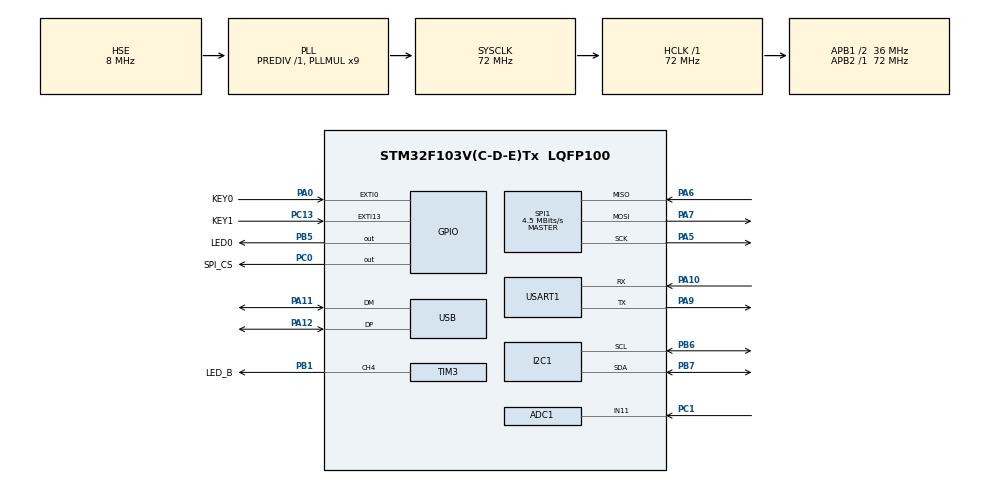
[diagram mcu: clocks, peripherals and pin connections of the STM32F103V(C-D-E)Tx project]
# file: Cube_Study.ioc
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ADC1.Channel-7\#ChannelRegularConversion=ADC_CHANNEL_11
ADC1.ContinuousConvMode=ENABLE
ADC1.NbrOfConversionFlag=1
ADC1.Rank-7\#ChannelRegularConversion=1
ADC1.SamplingTime-7\#ChannelRegularConversion=ADC_SAMPLETIME_1CYCLE_5
ADC1.master=1
Dma.ADC1.0.Direction=DMA_PERIPH_TO_MEMORY
Dma.ADC1.0.Instance=DMA1_Channel1
Dma.ADC1.0.MemDataAlignment=DMA_MDATAALIGN_HALFWORD
Dma.ADC1.0.MemInc=DMA_MINC_ENABLE
Dma.ADC1.0.Mode=DMA_CIRCULAR
Dma.ADC1.0.PeriphDataAlignment=DMA_PDATAALIGN_HALFWORD
Dma.ADC1.0.PeriphInc=DMA_PINC_DISABLE
Dma.ADC1.0.Priority=DMA_PRIORITY_LOW
Dma.Request0=ADC1
Dma.Request1=USART1_TX
Dma.USART1_TX.1.Direction=DMA_MEMORY_TO_PERIPH
Dma.USART1_TX.1.Instance=DMA1_Channel4
Dma.USART1_TX.1.MemDataAlignment=DMA_MDATAALIGN_BYTE
Dma.USART1_TX.1.MemInc=DMA_MINC_ENABLE
Dma.USART1_TX.1.Mode=DMA_NORMAL
Dma.USART1_TX.1.PeriphDataAlignment=DMA_PDATAALIGN_BYTE
Dma.USART1_TX.1.PeriphInc=DMA_PINC_DISABLE
Dma.USART1_TX.1.Priority=DMA_PRIORITY_LOW
Mcu.Family=STM32F1
Mcu.Name=STM32F103V(C-D-E)Tx
Mcu.Package=LQFP100
NVIC.DMA1_Channel1_IRQn=true\:0\:0\:false\:false\:true\:false\:true\:true
NVIC.DMA1_Channel4_IRQn=true\:0\:0\:false\:false\:true\:false\:true\:true
NVIC.EXTI0_IRQn=true\:0\:0\:false\:false\:true\:true\:true\:true
NVIC.EXTI15_10_IRQn=true\:0\:0\:false\:false\:true\:true\:true\:true
NVIC.PriorityGroup=NVIC_PRIORITYGROUP_4
NVIC.USART1_IRQn=true\:0\:0\:false\:false\:true\:true\:true\:true
NVIC.USB_LP_CAN1_RX0_IRQn=true\:0\:0\:false\:false\:true\:false\:true\:true
OSC_IN.Mode=HSE-External-Oscillator
OSC_IN.Signal=RCC_OSC_IN
OSC_OUT.Mode=HSE-External-Oscillator
OSC_OUT.Signal=RCC_OSC_OUT
PA0-WKUP.GPIO_Label=KEY0
PA0-WKUP.GPIO_ModeDefaultEXTI=GPIO_MODE_IT_RISING
PA0-WKUP.GPIO_PuPd=GPIO_NOPULL
PA0-WKUP.Signal=GPXTI0
PA10.Mode=Asynchronous
PA10.Signal=USART1_RX
PA11.Mode=Device
PA11.Signal=USB_DM
PA12.Mode=Device
PA12.Signal=USB_DP
PA13.Mode=Serial_Wire
PA13.Signal=SYS_JTMS-SWDIO
PA14.Mode=Serial_Wire
PA14.Signal=SYS_JTCK-SWCLK
PA5.Mode=Full_Duplex_Master
PA5.Signal=SPI1_SCK
PA6.Mode=Full_Duplex_Master
PA6.Signal=SPI1_MISO
PA7.Mode=Full_Duplex_Master
PA7.Signal=SPI1_MOSI
PA9.Mode=Asynchronous
PA9.Signal=USART1_TX
PB1.GPIO_Label=LED_B
PB1.Signal=S_TIM3_CH4
PB5.GPIO_Label=LED0
PB5.PinState=GPIO_PIN_SET
PB5.Signal=GPIO_Output
PB6.Mode=I2C
PB6.Signal=I2C1_SCL
PB7.Mode=I2C
PB7.Signal=I2C1_SDA
PC0.GPIO_Label=SPI_CS
PC0.PinState=GPIO_PIN_SET
PC0.Signal=GPIO_Output
PC1.Signal=ADCx_IN11
PC13-TAMPER-RTC.GPIO_Label=KEY1
PC13-TAMPER-RTC.GPIO_ModeDefaultEXTI=GPIO_MODE_IT_RISING
PC13-TAMPER-RTC.Signal=GPXTI13
PC14-OSC32_IN.Mode=LSE-External-Oscillator
PC14-OSC32_IN.Signal=RCC_OSC32_IN
PC15-OSC32_OUT.Mode=LSE-External-Oscillator
PC15-OSC32_OUT.Signal=RCC_OSC32_OUT
ProjectManager.HeapSize=0x600
ProjectManager.StackSize=0x400
ProjectManager.TargetToolchain=MDK-ARM V5.32
RCC.ADCPresc=RCC_ADCPCLK2_DIV6
RCC.AHBFreq_Value=72000000
RCC.APB1CLKDivider=RCC_HCLK_DIV2
RCC.APB1Freq_Value=36000000
RCC.APB1TimFreq_Value=72000000
RCC.APB2Freq_Value=72000000
RCC.APB2TimFreq_Value=72000000
RCC.HCLKFreq_Value=72000000
RCC.PLLMUL=RCC_PLL_MUL9
RCC.PLLSourceVirtual=RCC_PLLSOURCE_HSE
RCC.RTCClockSelection=RCC_RTCCLKSOURCE_LSE
RCC.SYSCLKFreq_VALUE=72000000
RCC.SYSCLKSource=RCC_SYSCLKSOURCE_PLLCLK
RCC.USBFreq_Value=48000000
RCC.USBPrescaler=RCC_USBCLKSOURCE_PLL_DIV1_5
SH.ADCx_IN11.0=ADC1_IN11,IN11
SH.S_TIM3_CH4.0=TIM3_CH4,PWM Generation4 CH4
SPI1.BaudRatePrescaler=SPI_BAUDRATEPRESCALER_16
SPI1.CalculateBaudRate=4.5 MBits/s
SPI1.Direction=SPI_DIRECTION_2LINES
SPI1.Mode=SPI_MODE_MASTER
SPI1.VirtualType=VM_MASTER
TIM3.Channel-PWM\ Generation4\ CH4=TIM_CHANNEL_4
TIM3.Period=999
TIM3.Prescaler=71
USART1.VirtualMode=VM_ASYNC
USB_DEVICE.CLASS_NAME_FS=CDC
USB_DEVICE.VirtualMode=Cdc
USB_DEVICE.VirtualModeFS=Cdc_FS
VP_RTC_VS_RTC_Activate.Mode=RTC_Enabled
VP_RTC_VS_RTC_Calendar.Mode=RTC_Calendar
VP_TIM3_VS_ClockSourceINT.Mode=Internal
VP_USB_DEVICE_VS_USB_DEVICE_CDC_FS.Mode=CDC_FS
board=custom

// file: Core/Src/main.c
/* USER CODE BEGIN Header */
/**
  ******************************************************************************
  * @file           : main.c
  * @brief          : Main program body
  ******************************************************************************
  * @attention
  *
  * Copyright (c) 2025 STMicroelectronics.
  * All rights reserved.
  *
  * This software is licensed under terms that can be found in the LICENSE file
  * in the root directory of this software component.
  * If no LICENSE file comes with this software, it is provided AS-IS.
  *
  ******************************************************************************
  */
/* USER CODE END Header */
#include "main.h"
#include "adc.h"
#include "dma.h"
#include "i2c.h"
#include "rtc.h"
#include "spi.h"
#include "tim.h"
#include "usart.h"
#include "usb_device.h"
#include "gpio.h"

/* USER CODE BEGIN Includes */
#include <stdio.h>
#include <string.h>
/* USER CODE END Includes */

/* USER CODE BEGIN PV */
// ADC-DMA的循环缓冲区，用于存放ADC的转换结果
uint16_t adc_dma_buffer[64];

// UART-DMA的发送缓冲区
uint8_t uart_tx_buffer[50];

RTC_TimeTypeDef gTime;
RTC_DateTypeDef gDate;

/* USER CODE END PV */

void SystemClock_Config(void);

/* USER CODE BEGIN 0 */
// --- SPI Flash Helper Functions ---

// 发送和接收一个字节
uint8_t SPI_Flash_SendByte(uint8_t byte)
{
    uint8_t rx_byte;
    HAL_SPI_TransmitReceive(&hspi1, &byte, &rx_byte, 1, 100);
    return rx_byte;
}

// 读取Flash的状态寄存器
uint8_t SPI_Flash_ReadStatusRegister(void)
{
    uint8_t status;
    HAL_GPIO_WritePin(SPI_CS_GPIO_Port, SPI_CS_Pin, GPIO_PIN_RESET); // 片选拉低
    SPI_Flash_SendByte(0x05); // 发送“读取状态寄存器1”指令
    status = SPI_Flash_SendByte(0xFF); // 发送一个哑字节来接收数据
    HAL_GPIO_WritePin(SPI_CS_GPIO_Port, SPI_CS_Pin, GPIO_PIN_SET);   // 片选拉高
    return status;
}

// 等待Flash不处于“忙”状态
void SPI_Flash_Wait_Busy(void)
{
    // 检查状态寄存器的第0位(BUSY位)，如果是1，就一直等待
    while((SPI_Flash_ReadStatusRegister() & 0x01) == 0x01);
}

// 发送“写使能”指令
void SPI_Flash_Write_Enable(void)
{
    HAL_GPIO_WritePin(SPI_CS_GPIO_Port, SPI_CS_Pin, GPIO_PIN_RESET);
    SPI_Flash_SendByte(0x06); // 发送“写使能”指令
    HAL_GPIO_WritePin(SPI_CS_GPIO_Port, SPI_CS_Pin, GPIO_PIN_SET);
}

// 擦除一个扇区 (4KB)
void SPI_Flash_Erase_Sector(uint32_t sector_addr)
{
    SPI_Flash_Write_Enable(); // 擦除前必须先写使能
    SPI_Flash_Wait_Busy();

    HAL_GPIO_WritePin(SPI_CS_GPIO_Port, SPI_CS_Pin, GPIO_PIN_RESET);
    SPI_Flash_SendByte(0x20); // 发送“扇区擦除”指令
    // 发送24位的地址
    SPI_Flash_SendByte((sector_addr & 0xFF0000) >> 16);
    SPI_Flash_SendByte((sector_addr & 0x00FF00) >> 8);
    SPI_Flash_SendByte(sector_addr & 0x0000FF);
    HAL_GPIO_WritePin(SPI_CS_GPIO_Port, SPI_CS_Pin, GPIO_PIN_SET);

    SPI_Flash_Wait_Busy(); // 等待擦除完成
}

// 写入数据
void SPI_Flash_Write_Data(uint32_t addr, uint8_t *data, uint16_t size)
{
    SPI_Flash_Write_Enable(); // 写入前必须先写使能

    HAL_GPIO_WritePin(SPI_CS_GPIO_Port, SPI_CS_Pin, GPIO_PIN_RESET);
    SPI_Flash_SendByte(0x02); // 发送“页编程”指令
    // 发送24位地址
    SPI_Flash_SendByte((addr & 0xFF0000) >> 16);
    SPI_Flash_SendByte((addr & 0x00FF00) >> 8);
    SPI_Flash_SendByte(addr & 0x0000FF);

    // 发送数据
    HAL_SPI_Transmit(&hspi1, data, size, 1000);
    HAL_GPIO_WritePin(SPI_CS_GPIO_Port, SPI_CS_Pin, GPIO_PIN_SET);

    SPI_Flash_Wait_Busy(); // 等待写入完成
}

// 读取数据
void SPI_Flash_Read_Data(uint32_t addr, uint8_t *data, uint16_t size)
{
    HAL_GPIO_WritePin(SPI_CS_GPIO_Port, SPI_CS_Pin, GPIO_PIN_RESET);
    SPI_Flash_SendByte(0x03); // 发送“读取数据”指令
    // 发送24位地址
    SPI_Flash_SendByte((addr & 0xFF0000) >> 16);
    SPI_Flash_SendByte((addr & 0x00FF00) >> 8);
    SPI_Flash_SendByte(addr & 0x0000FF);

    // 接收数据
    HAL_SPI_Receive(&hspi1, data, size, 1000);
    HAL_GPIO_WritePin(SPI_CS_GPIO_Port, SPI_CS_Pin, GPIO_PIN_SET);
}
/* USER CODE END 0 */

int main(void)
{

  /* MCU Configuration--------------------------------------------------------*/

  /* Reset of all peripherals, Initializes the Flash interface and the Systick. */
  HAL_Init();

  /* Configure the system clock */
  SystemClock_Config();

  /* Initialize all configured peripherals */
  MX_GPIO_Init();
  MX_DMA_Init();
  MX_USART1_UART_Init();
  MX_TIM3_Init();
  MX_ADC1_Init();
  MX_I2C1_Init();
  MX_SPI1_Init();
  MX_RTC_Init();
  MX_USB_DEVICE_Init();
  /* USER CODE BEGIN 2 */
	uint8_t startup_msg[] = "SYSTEM READY\r\n";
	HAL_UART_Transmit(&huart1, startup_msg, sizeof(startup_msg)-1, 100);

//	// 启动定时器3的中断模式
//	HAL_TIM_Base_Start_IT(&htim3);
	// 启动定时器3的PWM通道4
	HAL_TIM_PWM_Start(&htim3, TIM_CHANNEL_4);

	// 启动ADC，并命令DMA开始将结果搬运到adc_dma_buffer中
  HAL_ADC_Start_DMA(&hadc1, (uint32_t*)adc_dma_buffer, 64);
	uint8_t read_data;
  uint8_t tx_buffer[50];

	 // 从EEPROM的地址0x00处，读取1个字节的数据
  HAL_I2C_Mem_Read(&hi2c1, 0xA0, 0x00, I2C_MEMADD_SIZE_8BIT, &read_data, 1, 1000);

  // 通过串口打印读到的数据
  sprintf((char*)tx_buffer, "Read from EEPROM at startup: %d\r\n", read_data);
  HAL_UART_Transmit(&huart1, tx_buffer, strlen((char*)tx_buffer), 100);

	uint8_t startup_ms[] = "--SPI Flash ID Reader--\r\n";
  HAL_UART_Transmit(&huart1, startup_ms, sizeof(startup_ms)-1, 100);

	  // 定义发送和接收的缓冲区
  uint8_t tx_data[4];
  uint8_t rx_data[4];
  uint8_t tx_buffe[100]; // 用于串口打印

  // 1. 将CS线拉低，选中Flash芯片
  HAL_GPIO_WritePin(SPI_CS_GPIO_Port, SPI_CS_Pin, GPIO_PIN_RESET);

  // 2. 准备要发送的指令
  tx_data[0] = 0x9F; // JEDEC ID 读取指令

  // 3. 发送指令并接收返回的数据
  //    这里我们用 TransmitReceive 函数，虽然只发1字节，但为了接收，需要一个同步的过程
  //    我们总共需要接收3个字节的ID，加上发送的1字节指令，总共通信4个字节
  HAL_SPI_TransmitReceive(&hspi1, tx_data, rx_data, 4, 100);

  // 4. 将CS线拉高，取消选中
  HAL_GPIO_WritePin(SPI_CS_GPIO_Port, SPI_CS_Pin, GPIO_PIN_SET);

  // 5. 通过串口打印接收到的ID
  //    rx_data[0] 是通信过程时钟同步的无效数据，真正的ID从rx_data[1]开始
  sprintf((char*)tx_buffe, "Manufacture ID: 0x%02X\r\n", rx_data[1]);
  HAL_UART_Transmit(&huart1, tx_buffe, strlen((char*)tx_buffe), 100);

  sprintf((char*)tx_buffe, "Device ID: 0x%02X 0x%02X\r\n", rx_data[2], rx_data[3]);
  HAL_UART_Transmit(&huart1, tx_buffe, strlen((char*)tx_buffe), 100);

	uint8_t startup_m[] = "--SPI Flash Reader/Writer--\r\n";
  HAL_UART_Transmit(&huart1, startup_m, strlen((char*)startup_m), 100);

  // 定义一个足够大的缓冲区来存放读取的字符串
  uint8_t read_buffer[100] = {0};
  uint8_t tx_buff[150];

  // 从Flash的地址0开始，读取20个字节
  SPI_Flash_Read_Data(0x000000, read_buffer, 20);

  // 打印读取到的内容
  sprintf((char*)tx_buff, "Data read from Flash at startup: [%s]\r\n", read_buffer);
  HAL_UART_Transmit(&huart1, tx_buff, strlen((char*)tx_buff), 100);

	RTC_TimeTypeDef sTime = {0};
  RTC_DateTypeDef sDate = {0};

  // --- 下面是我们要设置的初始时间和日期 ---
  sTime.Hours = 18;  // 时 (24小时制)
  sTime.Minutes = 8; // 分
  sTime.Seconds = 0; // 秒

  sDate.WeekDay = RTC_WEEKDAY_SATURDAY; // 星期六
  sDate.Month = RTC_MONTH_SEPTEMBER;    // 9月
  sDate.Date = 27;                      // 27日
  sDate.Year = 25;                      // 年 (20xx年)
  // ------------------------------------

  // 将上面设置好的时间和日期写入RTC
  HAL_RTC_SetTime(&hrtc, &sTime, RTC_FORMAT_BIN);
  HAL_RTC_SetDate(&hrtc, &sDate, RTC_FORMAT_BIN);

  /* USER CODE END 2 */

  /* Infinite loop */
  while (1)
  {

    /* USER CODE BEGIN 3 */
	 // --- 任务1: ADC -> PWM 控制 ---
	uint16_t current_adc_val = adc_dma_buffer[0];
	uint16_t pwm_pulse = current_adc_val * 999 / 4095;
	__HAL_TIM_SET_COMPARE(&htim3, TIM_CHANNEL_4, pwm_pulse);

	// --- 任务2: 读取RTC时间 ---
	// 注意：对于F1系列，必须先读时间，再读日期
	HAL_RTC_GetTime(&hrtc, &gTime, RTC_FORMAT_BIN);
	HAL_RTC_GetDate(&hrtc, &gDate, RTC_FORMAT_BIN);

	// --- 任务3: 准备并发送所有状态信息 ---
	int len = sprintf((char*)uart_tx_buffer, "ADC=%4d | PWM=%3d | Time: %02d:%02d:%02d\r\n",
											current_adc_val,
											pwm_pulse,
											gTime.Hours, gTime.Minutes, gTime.Seconds);

	// 统一使用DMA方式发送，避免冲突
	HAL_UART_Transmit_DMA(&huart1, uart_tx_buffer, len);

	// --- 任务4: CPU休息 ---
	// 主循环每秒执行一次，更新所有信息
	HAL_Delay(2000);
	}
  /* USER CODE END 3 */
}

void SystemClock_Config(void)
{
  RCC_OscInitTypeDef RCC_OscInitStruct = {0};
  RCC_ClkInitTypeDef RCC_ClkInitStruct = {0};
  RCC_PeriphCLKInitTypeDef PeriphClkInit = {0};

  /** Initializes the RCC Oscillators according to the specified parameters
  * in the RCC_OscInitTypeDef structure.
  */
  RCC_OscInitStruct.OscillatorType = RCC_OSCILLATORTYPE_HSE|RCC_OSCILLATORTYPE_LSE;
  RCC_OscInitStruct.HSEState = RCC_HSE_ON;
  RCC_OscInitStruct.HSEPredivValue = RCC_HSE_PREDIV_DIV1;
  RCC_OscInitStruct.LSEState = RCC_LSE_ON;
  RCC_OscInitStruct.HSIState = RCC_HSI_ON;
  RCC_OscInitStruct.PLL.PLLState = RCC_PLL_ON;
  RCC_OscInitStruct.PLL.PLLSource = RCC_PLLSOURCE_HSE;
  RCC_OscInitStruct.PLL.PLLMUL = RCC_PLL_MUL9;
  if (HAL_RCC_OscConfig(&RCC_OscInitStruct) != HAL_OK)
  {
    Error_Handler();
  }

  /** Initializes the CPU, AHB and APB buses clocks
  */
  RCC_ClkInitStruct.ClockType = RCC_CLOCKTYPE_HCLK|RCC_CLOCKTYPE_SYSCLK
                              |RCC_CLOCKTYPE_PCLK1|RCC_CLOCKTYPE_PCLK2;
  RCC_ClkInitStruct.SYSCLKSource = RCC_SYSCLKSOURCE_PLLCLK;
  RCC_ClkInitStruct.AHBCLKDivider = RCC_SYSCLK_DIV1;
  RCC_ClkInitStruct.APB1CLKDivider = RCC_HCLK_DIV2;
  RCC_ClkInitStruct.APB2CLKDivider = RCC_HCLK_DIV1;

  if (HAL_RCC_ClockConfig(&RCC_ClkInitStruct, FLASH_LATENCY_2) != HAL_OK)
  {
    Error_Handler();
  }
  PeriphClkInit.PeriphClockSelection = RCC_PERIPHCLK_RTC|RCC_PERIPHCLK_ADC
                              |RCC_PERIPHCLK_USB;
  PeriphClkInit.RTCClockSelection = RCC_RTCCLKSOURCE_LSE;
  PeriphClkInit.AdcClockSelection = RCC_ADCPCLK2_DIV6;
  PeriphClkInit.UsbClockSelection = RCC_USBCLKSOURCE_PLL_DIV1_5;
  if (HAL_RCCEx_PeriphCLKConfig(&PeriphClkInit) != HAL_OK)
  {
    Error_Handler();
  }
}

/* USER CODE BEGIN 4 */
//void HAL_GPIO_EXTI_Callback(uint16_t GPIO_Pin)
//{
//  if(GPIO_Pin == KEY0_Pin)
//  {
////    HAL_GPIO_TogglePin(LED0_GPIO_Port, LED0_Pin);
//
//		// ����һ�������������Ҫ���͵��ַ���
//    uint8_t tx_buffer[50];
//
//		// ���LED��ת���״̬
//		if(HAL_GPIO_ReadPin(LED0_GPIO_Port, LED0_Pin) == GPIO_PIN_RESET) // LED�� (�͵�ƽ��)
//		{
//			// ʹ��sprintf����Ϣ��ʽ����������
//			sprintf((char*)tx_buffer, "Button Pressed! LED is now ON\r\n");
//		}
//		else // LED��
//		{
//			sprintf((char*)tx_buffer, "Button Pressed! LED is now OFF\r\n");
//		}
//		// ���͸�ʽ�������Ϣ
//    HAL_UART_Transmit(&huart1, tx_buffer, strlen((char*)tx_buffer), 100);
//  }
//}
//void HAL_GPIO_EXTI_Callback(uint16_t GPIO_Pin)
//{
//  // 判断是否是KEY1 (PC13) 按键触发的中断
//  if(GPIO_Pin == KEY1_Pin)
//  {
//    uint8_t write_data = 250; // 准备要写入的数据
//    uint8_t tx_buffer[50];

//    // 向EEPROM的地址0x00处，写入1个字节的数据
//    HAL_I2C_Mem_Write(&hi2c1, 0xA0, 0x00, I2C_MEMADD_SIZE_8BIT, &write_data, 1, 1000);

//    // 串口提示写入完成
//    sprintf((char*)tx_buffer, "Wrote %d to EEPROM!\r\n", write_data);
//    HAL_UART_Transmit(&huart1, tx_buffer, strlen((char*)tx_buffer), 100);
//
////		uint8_t tx_buffer[100];
//    // UTF-8编码的 "蒋泽华牛逼"
//    uint8_t write_string[] = {0xE8, 0x92, 0x8B, 0xE6, 0xB3, 0xBD, 0xE5, 0x8D, 0x8E, 0xE7, 0x89, 0x9B, 0xE9, 0x80, 0xBC, 0x00};

//    // 1. 擦除地址0所在的整个扇区 (4KB)
//    sprintf((char*)tx_buffer, "Erasing sector 0...\r\n");
//    HAL_UART_Transmit(&huart1, tx_buffer, strlen((char*)tx_buffer), 100);
//    SPI_Flash_Erase_Sector(0x000000);

//    // 2. 将字符串写入地址0
//    sprintf((char*)tx_buffer, "Writing string to address 0...\r\n");
//    HAL_UART_Transmit(&huart1, tx_buffer, strlen((char*)tx_buffer), 100);
//    SPI_Flash_Write_Data(0x000000, write_string, sizeof(write_string));

//    // 3. 提示完成
//    sprintf((char*)tx_buffer, "Write complete!\r\n\r\n");
//    HAL_UART_Transmit(&huart1, tx_buffer, strlen((char*)tx_buffer), 100);
//
//
//    // HAL_Delay(100); // 增加一个延时，防止抖动和过快写入
//  }
//}
//// 定时器周期溢出回调函数
//void HAL_TIM_PeriodElapsedCallback(TIM_HandleTypeDef *htim)
//{
//  // 判断是否是定时器3触发的中断
//  if (htim->Instance == TIM3)
//  {
//    // 翻转LED0的状态
//    HAL_GPIO_TogglePin(LED0_GPIO_Port, LED0_Pin);
//  }
//}
/* USER CODE END 4 */

void Error_Handler(void)
{
  __disable_irq();
  while (1)
  {
  }
}
